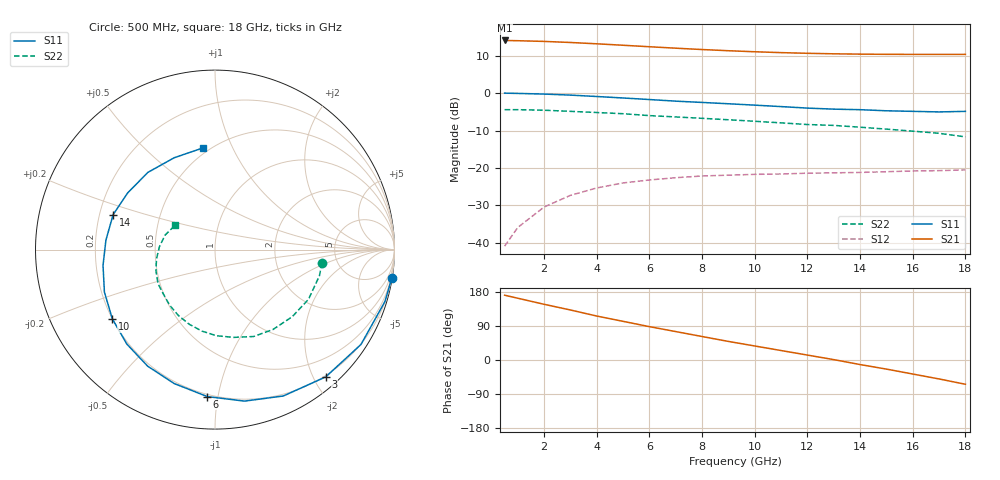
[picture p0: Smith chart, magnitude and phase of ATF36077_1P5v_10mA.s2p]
!ATF-36077
!S AND NOISE PARAMETERS at Vds=1.5V  Id=10mA.  LAST UPDATED 06-27-94
# ghz s ma r 50
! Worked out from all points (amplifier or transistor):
!   19 points, 500 MHz to 18 GHz, reference 50 ohm
!   highest |S21| = 14.1 dB at 500 MHz (marker M1)
!   |S21| within 3 dB of that: start of sweep to 9.92 GHz
!   unconditionally stable (mu >= 1): 14.84 GHz to end of sweep
!   at 3 GHz: K = 0.24, MSG = 20.4 dB, |S12| = -27.3 dB
!   at 9 GHz: K = 0.69, MSG = 16.6 dB, |S12| = -21.9 dB
!   at 18 GHz: K = 1.03, MAG = 14.4 dB, |S12| = -20.5 dB
!   lowest NFmin = 0.30 dB at 1 GHz
!   S11 on the Smith chart (normalised r, x): 500 MHz: 0, -13; 3 GHz: 0.18, -2.18; 6 GHz: 0.19, -0.93; 10 GHz: 0.20, -0.29; 14 GHz: 0.26, +0.16; 18 GHz: 0.46, +0.77
0.5  0.998 -9.0  5.05 171.0  0.009 83.0  0.6 -7.0
1  0.99 -17.0  5.01 163.0  0.016 78.0  0.6 -14.0
2  0.97 -33.0  4.904 147.0  0.03 66.0  0.59 -28.0
3  0.94 -49.0  4.745 132.0  0.043 54.0  0.57 -41.0
4  0.9 -65.0  4.556 116.0  0.054 43.0  0.55 -54.0
5  0.86 -79.0  4.357 102.0  0.063 33.0  0.53 -66.0
6  0.82 -93.0  4.162 88.0  0.069 24.0  0.5 -78.0
7  0.78 -107.0  3.981 75.0  0.074 16.0  0.48 -89.0
8  0.75 -120.0  3.82 62.0  0.078 8.0  0.46 -99.0
9  0.72 -133.0  3.682 49.0  0.08 1.0  0.44 -109.0
10  0.69 -146.0  3.566 37.0  0.082 -6.0  0.42 -119.0
11  0.66 -159.0  3.473 25.0  0.083 -13.0  0.4 -129.0
12  0.63 -172.0  3.401 13.0  0.085 -19.0  0.38 -139.0
13  0.61 175.0  3.349 1.0  0.086 -25.0  0.37 -149.0
14  0.6 161.0  3.315 -12.0  0.087 -32.0  0.35 -160.0
15  0.58 147.0  3.296 -24.0  0.089 -39.0  0.33 -171.0
16  0.57 131.0  3.289 -37.0  0.091 -47.0  0.31 177.0
17  0.56 114.0  3.289 -50.0  0.092 -55.0  0.29 164.0
18  0.57 97.0  3.291 -64.0  0.094 -65.0  0.26 148.0
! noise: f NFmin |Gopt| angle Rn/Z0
1  0.3  0.95  12  0.4
2  0.3  0.9  25  0.2
4  0.3  0.81  51  0.17
6  0.3  0.73  76  0.13
8  0.37  0.66  102  0.09
10  0.44  0.6  129  0.05
12  0.5  0.54  156  0.03
14  0.56  0.48  -174  0.02
16  0.61  0.43  -139  0.05
18  0.65  0.39  -100  0.09
